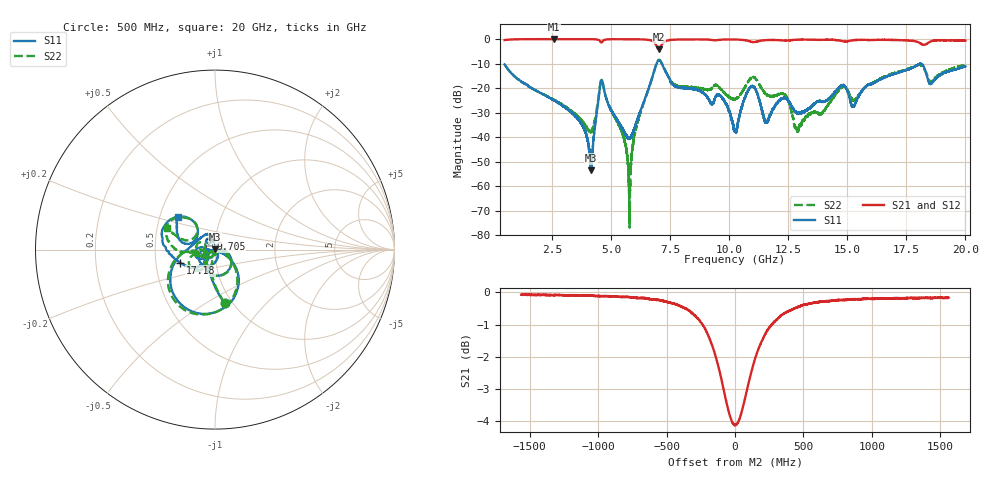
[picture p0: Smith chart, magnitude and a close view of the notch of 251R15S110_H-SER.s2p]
!{251R15S110}
!Johanson Technology Inc.
!www.johansontechnology.com
!Test Board Conditions:
!Substrate Type  RO4350B
!Substrate Thickness  20 mil
!Substrate Dk  3.66
!TL Type: GCPW
!TL Trace Width  34 mil
!TL Gap  10 mil
!Electrode orientation  Horizontal
!DUT TOPOLOGY	SERIES
!Mounting Pad LxW  26x52 mil
! Created Thu Mar 12 16:46:40 2020
# mhz S ma R 50
! 2 Port Network Data from SP1.SP block
! freq  magS11  angS11  magS21  angS21  magS12  angS12  magS22  angS22
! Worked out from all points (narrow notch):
!   19501 points, 500 MHz to 20 GHz, reference 50 ohm
!   highest |S21| = -0.04 dB at 2.581 GHz (marker M1); lowest = -4.1 dB at 7.021 GHz (marker M2)
!   notch at M2: 3.8 dB deep, 260 MHz wide at half that depth
!   lowest |S11| = -53.6 dB at 4.169 GHz (marker M3), VSWR 1.00, Z = 50 + j0.208 ohm
!   |S11| at or under -10 dB: start of sweep to 6.933 GHz; 7.148 GHz to end of sweep
!   |S22| runs from -77.0 to -8.5 dB; largest |S21 - S12| = 0.021
!   S11 on the Smith chart (normalised r, x): 500 MHz: 0.92, -0.60; 9.705 GHz: 0.94, +0.11; 17.18 GHz: 0.67, -0.10; 20 GHz: 0.62, +0.24
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500  0.3022 -79.9  0.9499 10.1  0.9512 10.0  0.3017 -79.6
2581  0.05635 -142.4  0.9957 -34.7  0.9947 -34.8  0.05787 -103.7
3750  0.0184 -169.2  0.9939 -53.7  0.9935 -53.7  0.02189 -102.5
4169  0.002093 83.8  0.9904 -60.9  0.9909 -61.0  0.013 -53.3
4608  0.1468 -81.6  0.8516 -65.0  0.8516 -65.0  0.1491 -79.8
5505  0.01431 -138.2  0.9907 -80.2  0.9913 -80.2  0.01132 -164.4
5791  0.009644 -89.1  0.989 -85.2  0.9901 -85.2  0.0004514 -49.1
6085  0.02035 -36.4  0.987 -90.6  0.9862 -90.6  0.01689 -8.7
7000  0.3612 -97.2  0.6281 -105.7  0.6283 -105.6  0.3675 -100.4
7021  0.3671 -104.2  0.6213 -102.0  0.6217 -102.0  0.3749 -107.3
7755  0.1082 149.2  0.9711 -107.4  0.9729 -107.4  0.1149 -171.4
9705  0.06342 114.0  0.971 -139.9  0.9721 -139.9  0.088 179.2
10250  0.01309 25.4  0.9763 -150.0  0.9767 -150.0  0.05867 -149.1
10957  0.1091 -129.8  0.8729 -161.6  0.875 -161.7  0.1647 -137.6
11569  0.0205 -143.7  0.949 -166.0  0.948 -166.1  0.07542 -156.1
12384  0.06205 -149.6  0.9275 -179.4  0.9301 -179.3  0.07052 -150.4
12863  0.03148 -166.3  0.9659 174.1  0.9655 174.2  0.01483 -123.9
13500  0.04247 -148.8  0.9698 162.7  0.9712 162.7  0.03201 -92.0
15263  0.0423 -153.5  0.9409 137.7  0.9459 137.8  0.05535 164.7
16750  0.1784 -147.3  0.9598 110.8  0.9543 110.3  0.1848 -175.8
17182  0.2067 -159.3  0.9502 102.5  0.9451 102.7  0.2139 -179.7
20000  0.2761 139.1  0.9279 58.4  0.9276 58.5  0.2942 156.2
